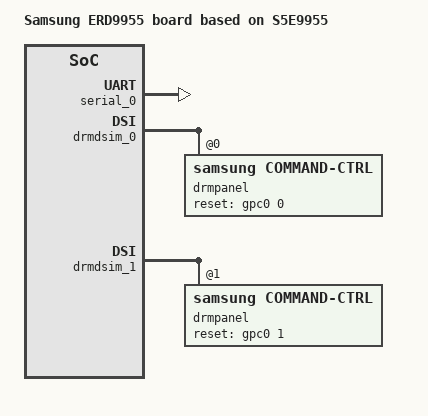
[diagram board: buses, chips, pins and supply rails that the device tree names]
/*
 * SAMSUNG S5E9955 board device tree source
 *
 * Copyright (c) 2023 Samsung Electronics Co., Ltd.
 *		http://www.samsung.com
 *
 * This program is free software; you can redistribute it and/or modify
 * it under the terms of the GNU General Public License version 2 as
 * published by the Free Software Foundation.
 */

/dts-v1/;
/plugin/;

#include "s5e9955-erd9955_common.dtsi"
#include <dt-bindings/gpio/gpio.h>
#include "panel/samsung-s6e3had-1440-3200-command-panel.dtsi"
#include "panel/samsung-s6e3had-720-1600-command-panel-sec.dtsi"
#include "panel/samsung-s6e3haf-1080-2340-panel.dtsi"

#define BOARD_ID	0x0
#define BOARD_REV	0x0

/ {
	compatible = "samsung,s5e9955", "samsung,ERD9955";
	board_id = <BOARD_ID>;
	board_rev = <BOARD_REV>;

	fragment@model {
		target-path = "/";
		__overlay__ {
			#address-cells = <2>;
			#size-cells = <1>;

			model = "Samsung ERD9955 board based on S5E9955";
		}; /* end of __overlay__ */
	}; /* end of fragment */
}; /* end of root */

&serial_0 {
	status = "okay";
};

&drmdsim_0 {
	#address-cells = <1>;
	#size-cells = <0>;
	drmpanel {
		compatible = "samsung,command-ctrl";
		/* reset, power */
		reset-gpios = <&gpc0 0 GPIO_ACTIVE_HIGH>;
		reg = <0>;
		pinctrl-names = "default";
		pinctrl-0 = <&ddi_rst>;

		connect-panel = "s6e3had_1440_3200_cmd";
		default-panel = "s6e3had_1440_3200_cmd";
		panel-reconfigure = <0>;
	};
};

&drmdsim_1 {
	#address-cells = <1>;
	#size-cells = <0>;
	drmpanel {
		compatible = "samsung,command-ctrl";
		/* reset, power */
		reset-gpios = <&gpc0 1 GPIO_ACTIVE_HIGH>;
		reg = <1>;
		pinctrl-names = "default";
		pinctrl-0 = <&ddi_rst_sec>;

		connect-panel = "s6e3had_720_1600_cmd_sec";
		default-panel = "s6e3had_720_1600_cmd_sec";
		panel-reconfigure = <0>;
	};
};

&scsc_wifibt {
	board_rev = <0>;
};
